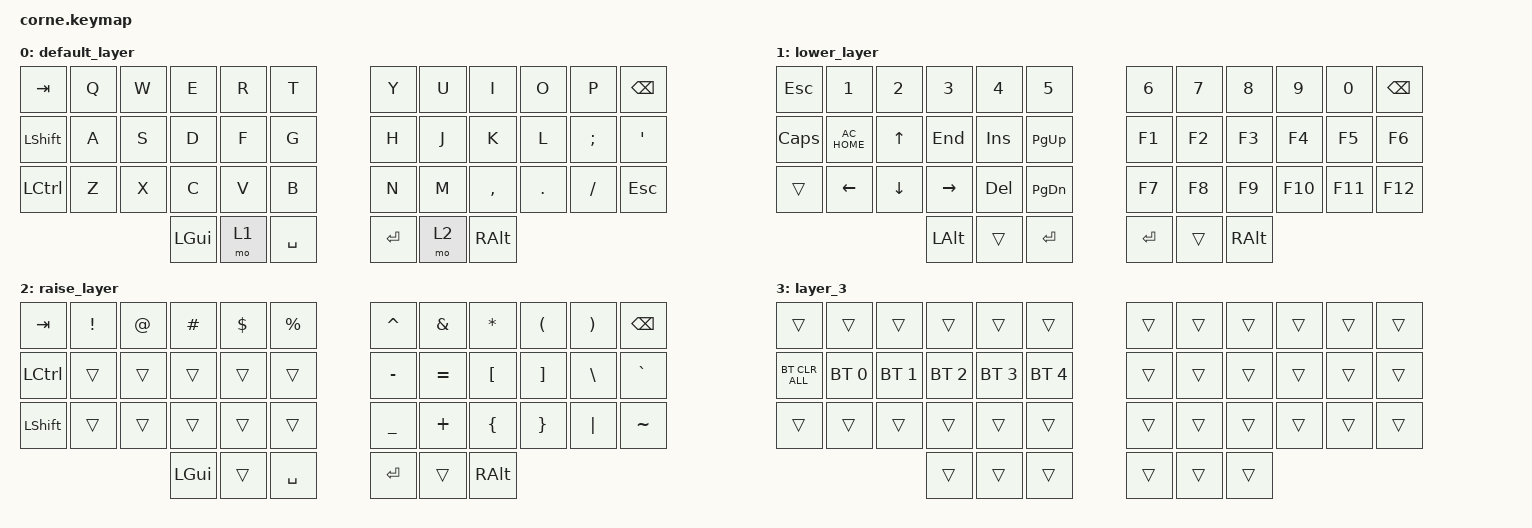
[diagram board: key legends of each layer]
/*
 * Copyright (c) 2020 The ZMK Contributors
 *
 * SPDX-License-Identifier: MIT
 */

#include <behaviors.dtsi>
#include <dt-bindings/zmk/bt.h>
#include <dt-bindings/zmk/keys.h>

/ {
    keymap {
        compatible = "zmk,keymap";

        default_layer {
            // -----------------------------------------------------------------------------------------
            // |  TAB |  Q  |  W  |  E  |  R  |  T  |   |  Y  |  U   |  I  |  O  |  P  | BSPC |
            // | CTRL |  A  |  S  |  D  |  F  |  G  |   |  H  |  J   |  K  |  L  |  ;  |  '   |
            // | SHFT |  Z  |  X  |  C  |  V  |  B  |   |  N  |  M   |  ,  |  .  |  /  | ESC  |
            //                    | GUI | LWR | SPC |   | ENT | RSE  | ALT |

            bindings = <
&kp TAB         &kp Q  &kp W  &kp E     &kp R  &kp T        &kp Y    &kp U  &kp I      &kp O    &kp P     &kp BSPC
&kp LEFT_SHIFT  &kp A  &kp S  &kp D     &kp F  &kp G        &kp H    &kp J  &kp K      &kp L    &kp SEMI  &kp SQT
&kp LCTRL       &kp Z  &kp X  &kp C     &kp V  &kp B        &kp N    &kp M  &kp COMMA  &kp DOT  &kp FSLH  &kp ESC
                              &kp LGUI  &mo 1  &kp SPACE    &kp RET  &mo 2  &kp RALT
            >;
        };

        lower_layer {
            // -----------------------------------------------------------------------------------------
            // |  TAB |  1  |  2  |  3  |  4  |  5  |   |  6  |  7  |  8  |  9  |  0  | BSPC |
            // | BTCLR| BT1 | BT2 | BT3 | BT4 | BT5 |   | LFT | DWN |  UP | RGT |     |      |
            // | SHFT |     |     |     |     |     |   |     |     |     |     |     |      |
            //                    | GUI |     | SPC |   | ENT |     | ALT |

            bindings = <
&kp ESC       &kp N1          &kp N2          &kp N3           &kp N4   &kp N5           &kp N6   &kp N7  &kp N8    &kp N9   &kp N0   &kp BSPC
&kp CAPSLOCK  &kp C_AC_HOME   &kp UP_ARROW    &kp END          &kp INS  &kp PG_UP        &kp F1   &kp F2  &kp F3    &kp F4   &kp F5   &kp F6
&trans        &kp LEFT_ARROW  &kp DOWN_ARROW  &kp RIGHT_ARROW  &kp DEL  &kp PAGE_DOWN    &kp F7   &kp F8  &kp F9    &kp F10  &kp F11  &kp F12
                                              &kp LEFT_ALT     &trans   &kp ENTER        &kp RET  &trans  &kp RALT
            >;
        };

        raise_layer {
            // -----------------------------------------------------------------------------------------
            // |  TAB |  !  |  @  |  #  |  $  |  %  |   |  ^  |  &  |  *  |  (  |  )  | BSPC |
            // | CTRL |     |     |     |     |     |   |  -  |  =  |  [  |  ]  |  \  |  `   |
            // | SHFT |     |     |     |     |     |   |  _  |  +  |  {  |  }  | "|" |  ~   |
            //                    | GUI |     | SPC |   | ENT |     | ALT |

            bindings = <
&kp TAB    &kp EXCL  &kp AT  &kp HASH  &kp DLLR  &kp PRCNT    &kp CARET  &kp AMPS   &kp ASTRK  &kp LPAR  &kp RPAR  &kp BSPC
&kp LCTRL  &trans    &trans  &trans    &trans    &trans       &kp MINUS  &kp EQUAL  &kp LBKT   &kp RBKT  &kp BSLH  &kp GRAVE
&kp LSHFT  &trans    &trans  &trans    &trans    &trans       &kp UNDER  &kp PLUS   &kp LBRC   &kp RBRC  &kp PIPE  &kp TILDE
                             &kp LGUI  &trans    &kp SPACE    &kp RET    &trans     &kp RALT
            >;
        };

        layer_3 {
            bindings = <
&trans          &trans        &trans        &trans        &trans        &trans          &trans  &trans  &trans  &trans  &trans  &trans
&bt BT_CLR_ALL  &bt BT_SEL 0  &bt BT_SEL 1  &bt BT_SEL 2  &bt BT_SEL 3  &bt BT_SEL 4    &trans  &trans  &trans  &trans  &trans  &trans
&trans          &trans        &trans        &trans        &trans        &trans          &trans  &trans  &trans  &trans  &trans  &trans
                                            &trans        &trans        &trans          &trans  &trans  &trans
            >;
        };
    };
};
